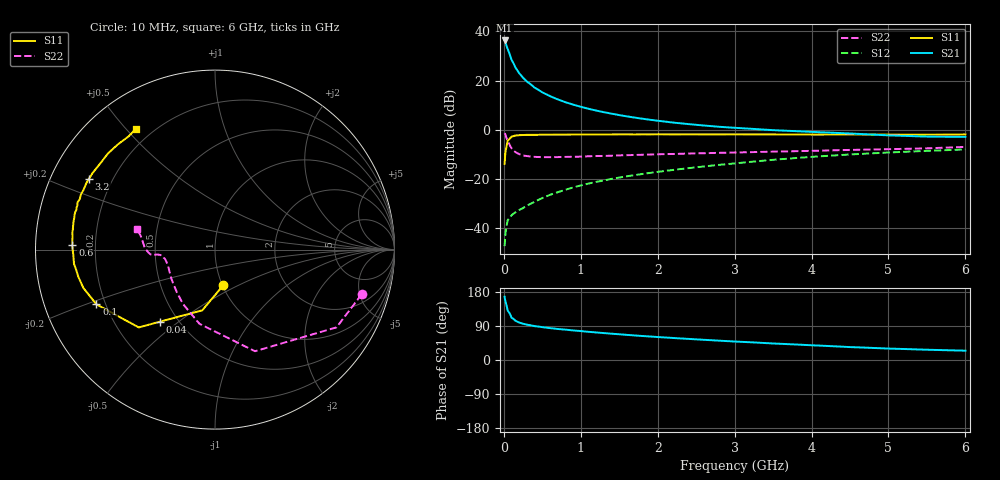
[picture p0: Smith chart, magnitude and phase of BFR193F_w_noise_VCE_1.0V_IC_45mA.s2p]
! (c) 2017  Infineon Technologies AG, Munich
! Infineon Technologies  Discrete & RF Semiconductors
! BFR193F
! VCE =  1.0 V,  IC =  45 mA
! Common Emitter S-Parameters:  Jan 2017
# GHz  S  MA  R  50
!  f  S11  S21  S12  S22
! GHz  MAG  ANG  MAG  ANG  MAG  ANG  MAG  ANG
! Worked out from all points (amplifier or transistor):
!   77 points, 10 MHz to 6 GHz, reference 50 ohm
!   highest |S21| = 36.3 dB at 10 MHz (marker M1)
!   |S21| within 3 dB of that: start of sweep to 44.19 MHz
!   unconditionally stable (mu >= 1): 566.1 MHz to 3.068 GHz
!   at 130 MHz: K = 0.54, MSG = 30.4 dB, |S12| = -34.0 dB
!   at 2.2 GHz: K = 1.06, MAG = 8.2 dB, |S12| = -16.3 dB
!   at 6 GHz: K = 0.94, MSG = 2.5 dB, |S12| = -8.0 dB
!   lowest NFmin = 1.41 dB at 450 MHz
!   S11 on the Smith chart (normalised r, x): 10 MHz: 1.01, -0.42; 40 MHz: 0.40, -0.43; 100 MHz: 0.17, -0.21; 600 MHz: 0.11, +0.02; 3.2 GHz: 0.12, +0.26; 6 GHz: 0.14, +0.53
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0.01  0.2032 -76.6  65.51 167.0  0.0043 81.6  0.8541 -17.0
0.02  0.3459 -101.9  60.92 154.6  0.0075 69.8  0.8039 -32.6
0.04  0.5057 -127.4  48.37 140.1  0.0121 55.3  0.6423 -54.3
0.05  0.607 -134.4  43.75 130.0  0.0145 51.6  0.6086 -68.5
0.1  0.7276 -155.2  26.57 111.7  0.0183 44.4  0.4225 -101.8
0.15  0.764 -163.8  18.57 103.7  0.021 46.6  0.3519 -120.4
0.2  0.7763 -168.7  14.14 98.8  0.0235 50.1  0.3193 -131.6
0.25  0.7823 -172.0  11.4 95.7  0.0256 53.1  0.3005 -140.5
0.3  0.7897 -174.2  9.561 93.2  0.0287 55.8  0.2924 -146.1
0.4  0.7898 -177.6  7.191 89.4  0.0344 60.9  0.2818 -154.2
0.5  0.7934 180.0  5.78 86.7  0.0409 63.8  0.2776 -159.3
0.6  0.7952 178.0  4.84 84.2  0.0476 66.1  0.2776 -163.0
0.7  0.7967 176.2  4.156 81.9  0.0537 68.0  0.2784 -165.3
0.8  0.7969 174.9  3.64 80.1  0.0604 68.8  0.2809 -167.6
1.1  0.8011 170.8  2.674 74.4  0.0805 71.2  0.2892 -170.9
1.5  0.8062 166.2  1.992 67.9  0.1069 71.7  0.3018 -173.6
2.1  0.807 160.3  1.465 59.4  0.1459 71.1  0.3201 -175.0
3.1  0.806 151.5  1.074 47.8  0.2144 68.4  0.3477 -175.1
3.2  0.8053 150.6  1.051 46.9  0.222 67.9  0.3507 -175.2
4.1  0.7994 142.1  0.893 38.0  0.288 62.9  0.376 -178.4
5.1  0.7964 131.7  0.761 29.6  0.3504 56.0  0.4065 173.3
6  0.8048 123.1  0.716 24.6  0.3982 50.3  0.449 164.9
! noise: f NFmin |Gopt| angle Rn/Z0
0.45  1.41  0.45  180  0.07
0.9  1.49  0.46  -179  0.07
1.9  2.06  0.59  -164  0.09
2.4  2.37  0.61  -156  0.14
